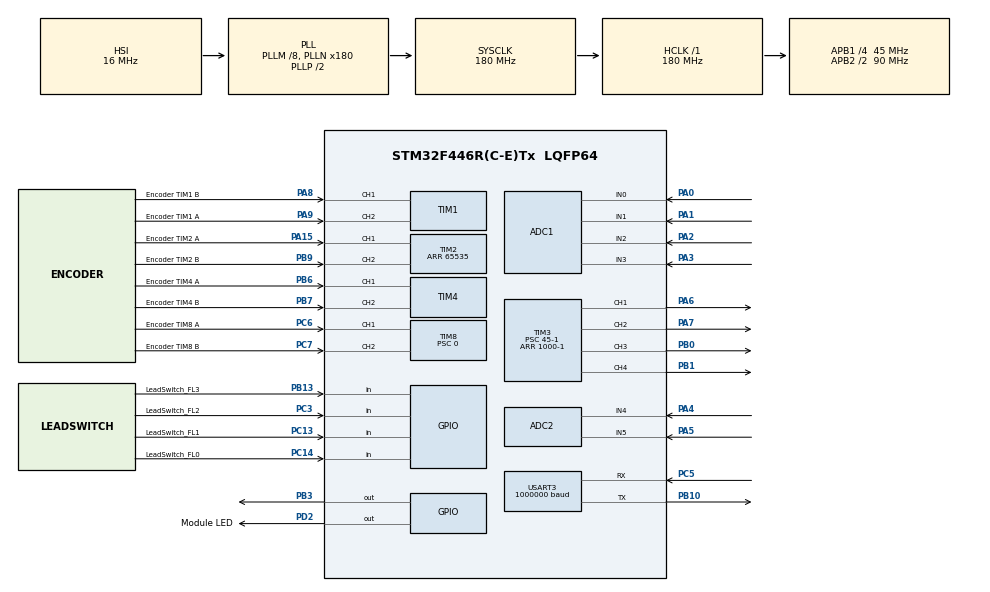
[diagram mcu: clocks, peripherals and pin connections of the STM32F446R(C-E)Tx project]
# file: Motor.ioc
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ADC1.Channel-17\#ChannelRegularConversion=ADC_CHANNEL_2
ADC1.Channel-18\#ChannelRegularConversion=ADC_CHANNEL_3
ADC1.Channel-19\#ChannelRegularConversion=ADC_CHANNEL_0
ADC1.Channel-20\#ChannelRegularConversion=ADC_CHANNEL_0
ADC1.ContinuousConvMode=ENABLE
ADC1.DMAContinuousRequests=ENABLE
ADC1.NbrOfConversion=4
ADC1.NbrOfConversionFlag=1
ADC1.Rank-17\#ChannelRegularConversion=1
ADC1.Rank-18\#ChannelRegularConversion=2
ADC1.Rank-19\#ChannelRegularConversion=3
ADC1.Rank-20\#ChannelRegularConversion=4
ADC1.SamplingTime-17\#ChannelRegularConversion=ADC_SAMPLETIME_144CYCLES
ADC1.SamplingTime-18\#ChannelRegularConversion=ADC_SAMPLETIME_144CYCLES
ADC1.SamplingTime-19\#ChannelRegularConversion=ADC_SAMPLETIME_3CYCLES
ADC1.SamplingTime-20\#ChannelRegularConversion=ADC_SAMPLETIME_3CYCLES
ADC1.ScanConvMode=ENABLE
ADC1.master=1
ADC2.Channel-6\#ChannelRegularConversion=ADC_CHANNEL_4
ADC2.NbrOfConversionFlag=1
ADC2.Rank-6\#ChannelRegularConversion=1
ADC2.SamplingTime-6\#ChannelRegularConversion=ADC_SAMPLETIME_3CYCLES
Dma.ADC1.0.Direction=DMA_PERIPH_TO_MEMORY
Dma.ADC1.0.FIFOMode=DMA_FIFOMODE_DISABLE
Dma.ADC1.0.Instance=DMA2_Stream0
Dma.ADC1.0.MemDataAlignment=DMA_MDATAALIGN_WORD
Dma.ADC1.0.MemInc=DMA_MINC_ENABLE
Dma.ADC1.0.Mode=DMA_CIRCULAR
Dma.ADC1.0.PeriphDataAlignment=DMA_PDATAALIGN_WORD
Dma.ADC1.0.PeriphInc=DMA_PINC_DISABLE
Dma.ADC1.0.Priority=DMA_PRIORITY_LOW
Dma.Request0=ADC1
Dma.Request1=USART3_RX
Dma.USART3_RX.1.Direction=DMA_PERIPH_TO_MEMORY
Dma.USART3_RX.1.FIFOMode=DMA_FIFOMODE_DISABLE
Dma.USART3_RX.1.Instance=DMA1_Stream1
Dma.USART3_RX.1.MemDataAlignment=DMA_MDATAALIGN_BYTE
Dma.USART3_RX.1.MemInc=DMA_MINC_ENABLE
Dma.USART3_RX.1.Mode=DMA_CIRCULAR
Dma.USART3_RX.1.PeriphDataAlignment=DMA_PDATAALIGN_BYTE
Dma.USART3_RX.1.PeriphInc=DMA_PINC_DISABLE
Dma.USART3_RX.1.Priority=DMA_PRIORITY_LOW
Mcu.Family=STM32F4
Mcu.Name=STM32F446R(C-E)Tx
Mcu.Package=LQFP64
NVIC.DMA1_Stream1_IRQn=true\:0\:0\:false\:false\:true\:false\:true
NVIC.DMA2_Stream0_IRQn=true\:0\:0\:false\:false\:true\:false\:true
NVIC.PriorityGroup=NVIC_PRIORITYGROUP_4
NVIC.TIM6_DAC_IRQn=true\:0\:0\:false\:false\:true\:true\:true
NVIC.TIM7_IRQn=true\:0\:0\:false\:false\:true\:true\:true
NVIC.TIM8_UP_TIM13_IRQn=true\:0\:0\:false\:false\:true\:true\:true
NVIC.USART3_IRQn=true\:0\:0\:false\:false\:true\:true\:true
PA0-WKUP.Signal=ADCx_IN0
PA1.Signal=ADCx_IN1
PA13.Mode=Serial_Wire
PA13.Signal=SYS_JTMS-SWDIO
PA14.Mode=Serial_Wire
PA14.Signal=SYS_JTCK-SWCLK
PA15.GPIO_Label=Encoder TIM2 A
PA15.GPIO_PuPd=GPIO_PULLUP
PA15.Signal=S_TIM2_CH1_ETR
PA2.Signal=ADCx_IN2
PA3.Signal=ADCx_IN3
PA4.Signal=ADCx_IN4
PA5.Signal=ADCx_IN5
PA6.Signal=S_TIM3_CH1
PA7.Signal=S_TIM3_CH2
PA8.GPIO_Label=Encoder TIM1 B
PA8.GPIO_PuPd=GPIO_PULLUP
PA8.Signal=S_TIM1_CH1
PA9.GPIO_Label=Encoder TIM1 A
PA9.GPIO_PuPd=GPIO_PULLUP
PA9.Signal=S_TIM1_CH2
PB0.Signal=S_TIM3_CH3
PB1.Signal=S_TIM3_CH4
PB10.Mode=Asynchronous
PB10.Signal=USART3_TX
PB13.GPIO_Label=LeadSwitch_FL3
PB13.Signal=GPIO_Input
PB3.PinState=GPIO_PIN_RESET
PB3.Signal=GPIO_Output
PB6.GPIO_Label=Encoder TIM4 A
PB6.GPIO_PuPd=GPIO_PULLUP
PB6.Signal=S_TIM4_CH1
PB7.GPIO_Label=Encoder TIM4 B
PB7.GPIO_PuPd=GPIO_PULLUP
PB7.Signal=S_TIM4_CH2
PB9.GPIO_Label=Encoder TIM2 B
PB9.GPIO_PuPd=GPIO_PULLUP
PB9.Signal=S_TIM2_CH2
PC13.GPIO_Label=LeadSwitch_FL1
PC13.Signal=GPIO_Input
PC14-OSC32_IN.GPIO_Label=LeadSwitch_FL0
PC14-OSC32_IN.Signal=GPIO_Input
PC3.GPIO_Label=LeadSwitch_FL2
PC3.Signal=GPIO_Input
PC5.Mode=Asynchronous
PC5.Signal=USART3_RX
PC6.GPIO_Label=Encoder TIM8 A
PC6.GPIO_PuPd=GPIO_PULLUP
PC6.Signal=S_TIM8_CH1
PC7.GPIO_Label=Encoder TIM8 B
PC7.GPIO_PuPd=GPIO_PULLUP
PC7.Signal=S_TIM8_CH2
PD2.GPIO_Label=Module LED
PD2.Signal=GPIO_Output
ProjectManager.HeapSize=0x200
ProjectManager.StackSize=0x400
ProjectManager.TargetToolchain=STM32CubeIDE
RCC.AHBFreq_Value=180000000
RCC.APB1CLKDivider=RCC_HCLK_DIV4
RCC.APB1Freq_Value=45000000
RCC.APB1TimFreq_Value=90000000
RCC.APB2CLKDivider=RCC_HCLK_DIV2
RCC.APB2Freq_Value=90000000
RCC.APB2TimFreq_Value=180000000
RCC.CortexFreq_Value=180000000
RCC.HCLKFreq_Value=180000000
RCC.HSE_VALUE=16000000
RCC.PLLM=8
RCC.PLLN=180
RCC.SYSCLKFreq_VALUE=180000000
RCC.SYSCLKSource=RCC_SYSCLKSOURCE_PLLCLK
RCC.USBFreq_Value=180000000
RCC.VCOOutputFreq_Value=360000000
SH.ADCx_IN0.0=ADC1_IN0,IN0
SH.ADCx_IN1.0=ADC1_IN1,IN1
SH.ADCx_IN2.0=ADC1_IN2,IN2
SH.ADCx_IN3.0=ADC1_IN3,IN3
SH.ADCx_IN4.0=ADC2_IN4,IN4
SH.ADCx_IN5.0=ADC2_IN5,IN5
SH.S_TIM1_CH1.0=TIM1_CH1,Encoder_Interface
SH.S_TIM1_CH2.0=TIM1_CH2,Encoder_Interface
SH.S_TIM2_CH1_ETR.0=TIM2_CH1,Encoder_Interface
SH.S_TIM2_CH2.0=TIM2_CH2,Encoder_Interface
SH.S_TIM3_CH1.0=TIM3_CH1,PWM Generation1 CH1
SH.S_TIM3_CH2.0=TIM3_CH2,PWM Generation2 CH2
SH.S_TIM3_CH3.0=TIM3_CH3,PWM Generation3 CH3
SH.S_TIM3_CH4.0=TIM3_CH4,PWM Generation4 CH4
SH.S_TIM4_CH1.0=TIM4_CH1,Encoder_Interface
SH.S_TIM4_CH2.0=TIM4_CH2,Encoder_Interface
SH.S_TIM8_CH1.0=TIM8_CH1,Encoder_Interface
SH.S_TIM8_CH2.0=TIM8_CH2,Encoder_Interface
TIM1.EncoderMode=TIM_ENCODERMODE_TI12
TIM1.IC1Filter=5
TIM1.IC2Filter=5
TIM2.EncoderMode=TIM_ENCODERMODE_TI12
TIM2.IC1Filter=5
TIM2.IC2Filter=5
TIM2.Period=65535
TIM3.Channel-PWM\ Generation1\ CH1=TIM_CHANNEL_1
TIM3.Channel-PWM\ Generation2\ CH2=TIM_CHANNEL_2
TIM3.Channel-PWM\ Generation3\ CH3=TIM_CHANNEL_3
TIM3.Channel-PWM\ Generation4\ CH4=TIM_CHANNEL_4
TIM3.CounterMode=TIM_COUNTERMODE_CENTERALIGNED1
TIM3.Period=1000-1
TIM3.Prescaler=45-1
TIM6.Period=10000-1
TIM6.Prescaler=45-1
TIM7.Period=10000-1
TIM7.Prescaler=90-1
TIM8.EncoderMode=TIM_ENCODERMODE_TI12
TIM8.IC1Filter=5
TIM8.IC2Filter=5
TIM8.Period=65535
TIM8.Prescaler=0
TIM8.TIM_MasterOutputTrigger=TIM_TRGO_RESET
USART3.BaudRate=1000000
USART3.VirtualMode=VM_ASYNC
VP_TIM6_VS_ClockSourceINT.Mode=Enable_Timer
VP_TIM7_VS_ClockSourceINT.Mode=Enable_Timer
board=custom

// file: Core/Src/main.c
/* USER CODE BEGIN Header */
/**
  ******************************************************************************
  * @file           : main.c
  * @brief          : Main program body
  ******************************************************************************
  * @attention
  *
  * <h2><center>&copy; Copyright (c) 2021 STMicroelectronics.
  * All rights reserved.</center></h2>
  *
  * This software component is licensed by ST under BSD 3-Clause license,
  * the "License"; You may not use this file except in compliance with the
  * License. You may obtain a copy of the License at:
  *                        opensource.org/licenses/BSD-3-Clause
  *
  ******************************************************************************
  */
/* USER CODE END Header */
#include "main.h"
#include "adc.h"
#include "dma.h"
#include "tim.h"
#include "usart.h"
#include "gpio.h"

/* USER CODE BEGIN Includes */
#include "PID_form.h"
#include "HalFlash.h"
#include "../../ScueDK/scuedk_embedded/slave/inc/serial_line.h"
#include "../../ScueDK/structs/structs.h"

//#include "HALFlash.h"
/* USER CODE END Includes */

/* USER CODE BEGIN PD */
#define RPM_FILTER_SIZE 10
#define FL_FLASH_SIZE 20 // pidPos 6 pidVel 6 pidCur 6 MaxRPM 1 MaxTorque 1
#define RX_BUFFER_SIZE 300

/* USER CODE END PD */

/* USER CODE BEGIN PM */

enum{
	MODE_PWM, MODE_MOTOR_INIT, MODE_PID, MODE_FLASH
};

/* USER CODE END PM */

/* USER CODE BEGIN PV */
/* COMM */
uint8_t rxBuffer[RX_BUFFER_SIZE];
SerialLine serialLine;
TrackController tc;
FlipperController fc;
/* MODE */
int MODE=0;

/* cnt */
int tim6_cnt=0;
int tim7_cnt=0;
int adc_cnt=0;

int enc=0;
int enc1=0;
int enc2=0;

unsigned int adc_buffer[2];
unsigned int current_buffer[2];

//test
float Target;
float Target_Pos_FL;

float rpm_temp[RPM_FILTER_SIZE]={0,};
int rpm_filter_cnt=0;

int test=0;

/* PWM */
int FL_Duty[4] = {500,};

/* Flipper */
PID pidVel_FL0;	//LEFT
PID pidVel_FL1;	//RIGHT
PID pidVel_FL2;	//LEFT
PID pidVel_FL3;	//RIGHT

PID pidPos_FL0;	//LEFT
PID pidPos_FL1;	//RIGHT
PID pidPos_FL2;	//LEFT
PID pidPos_FL3;	//RIGHT

PID pidCur_FL0;	//LEFT
PID pidCur_FL1;	//RIGHT
PID pidCur_FL2;	//LEFT
PID pidCur_FL3;	//RIGHT

MOTOR motor_FL0;
MOTOR motor_FL1;
MOTOR motor_FL2;
MOTOR motor_FL3;

pidDebug debug_FL0;
pidDebug debug_FL1;

/* Base */
PID pidVel_BASE_L;
PID pidVel_BASE_R;
MOTOR motor_BASE_L;
MOTOR motor_BASE_R;

pidDebug debug_BASE;

/* Lead Switch */
int LS_FL[4]={0,};

/* Flash */
int Flash_Flag=0;

int Flash_Read_Data_FL0[FL_FLASH_SIZE]={0,};
int Flash_Read_Data_FL1[FL_FLASH_SIZE]={0,};
int Flash_Read_Data_FL2[FL_FLASH_SIZE]={0,};
int Flash_Read_Data_FL3[FL_FLASH_SIZE]={0,};

int Flash_Write_Data_FL0[FL_FLASH_SIZE]={0,};
int Flash_Write_Data_FL1[FL_FLASH_SIZE]={0,};
int Flash_Write_Data_FL2[FL_FLASH_SIZE]={0,};
int Flash_Write_Data_FL3[FL_FLASH_SIZE]={0,};

/* USER CODE END PV */

void SystemClock_Config(void);

/* USER CODE BEGIN 0 */

void motorInit();

void pidInit();

void setDuty(MOTOR* motor, float Target_Duty);

void setRPM(MOTOR* motor, float Target_RPM);

void RPM_filter(float rpm);

void getLeadSwitch();

void Read_FlashData();
void Set_FlashData();
void Write_FlashData();

/* USER CODE END 0 */

int main(void)
{

  /* MCU Configuration--------------------------------------------------------*/

  /* Reset of all peripherals, Initializes the Flash interface and the Systick. */
  HAL_Init();

  /* USER CODE BEGIN Init */
  //initSerialLine(&serialLine, 1, (uint8_t*)&fc, sizeof(fc), USART3);
  initSerialLine(&serialLine, 2, (uint8_t*)&tc, sizeof(tc), USART3);

  /* USER CODE END Init */

  /* Configure the system clock */
  SystemClock_Config();

  /* Initialize all configured peripherals */
  MX_GPIO_Init();
  MX_TIM1_Init();
  MX_TIM2_Init();
  MX_TIM3_Init();
  MX_TIM4_Init();
  MX_TIM6_Init();
  MX_DMA_Init();
  MX_TIM8_Init();
  MX_USART3_UART_Init();
  MX_ADC1_Init();
  MX_ADC2_Init();
  MX_TIM7_Init();
  /* USER CODE BEGIN 2 */
  LL_DMA_SetMemoryAddress(DMA1, LL_DMA_STREAM_1, rxBuffer);
  LL_DMA_SetPeriphAddress(DMA1, LL_DMA_STREAM_1, &USART3->DR);
  LL_DMA_SetDataLength(DMA1, LL_DMA_STREAM_1, RX_BUFFER_SIZE);
  LL_DMA_EnableStream(DMA1, LL_DMA_STREAM_1);
  LL_USART_EnableDMAReq_RX(USART3);
  LL_USART_EnableIT_IDLE(USART3);

  HAL_TIM_Base_Start_IT(&htim6);
  HAL_TIM_Base_Start_IT(&htim7); //1ms

//  HAL_ADCEx_Calibration_Start(&hadc1, 10);
  HAL_ADC_Start_DMA(&hadc2, (uint32_t *)current_buffer, 2);
  HAL_ADC_Start_DMA(&hadc1, (uint32_t *)adc_buffer, 2);

//  HAL_ADCEx_Calibration_Start(&hadc2, 10);
//  HAL_ADC_Start_DMA(&hadc2, (uint32_t *)current_buffer, 2);

  //Flipper0 --> Flipper Back
  HAL_TIM_PWM_Start(&htim3, TIM_CHANNEL_2);			//PA7
  HAL_TIM_Encoder_Start(&htim2, TIM_CHANNEL_ALL);	//PA15 PB9

  //Flipper1
  HAL_TIM_PWM_Start(&htim3, TIM_CHANNEL_1);			//PA6
  HAL_TIM_Encoder_Start(&htim1, TIM_CHANNEL_ALL);	//PA8 PA9

  //Flipper2
  HAL_TIM_PWM_Start(&htim3, TIM_CHANNEL_3);			//PB0
  HAL_TIM_Encoder_Start(&htim4, TIM_CHANNEL_ALL);	//PB6 PB7

  //Flipper4
  HAL_TIM_PWM_Start(&htim3, TIM_CHANNEL_4);			//PB1
  HAL_TIM_Encoder_Start(&htim8, TIM_CHANNEL_ALL);	//PC6 PC7

//  HAL_TIM_Base_Start_IT(&htim4);

  motorInit();
  pidInit();

  TIM3->CCR1 = 500;
  TIM3->CCR2 = 500;
  TIM3->CCR3 = 500;
  TIM3->CCR4 = 500;

  /* USER CODE END 2 */

  /* Infinite loop */
  while (1)
  {

  }
}

void SystemClock_Config(void)
{
  RCC_OscInitTypeDef RCC_OscInitStruct = {0};
  RCC_ClkInitTypeDef RCC_ClkInitStruct = {0};

  /** Configure the main internal regulator output voltage
  */
  __HAL_RCC_PWR_CLK_ENABLE();
  __HAL_PWR_VOLTAGESCALING_CONFIG(PWR_REGULATOR_VOLTAGE_SCALE1);
  /** Initializes the RCC Oscillators according to the specified parameters
  * in the RCC_OscInitTypeDef structure.
  */
  RCC_OscInitStruct.OscillatorType = RCC_OSCILLATORTYPE_HSI;
  RCC_OscInitStruct.HSIState = RCC_HSI_ON;
  RCC_OscInitStruct.HSICalibrationValue = RCC_HSICALIBRATION_DEFAULT;
  RCC_OscInitStruct.PLL.PLLState = RCC_PLL_ON;
  RCC_OscInitStruct.PLL.PLLSource = RCC_PLLSOURCE_HSI;
  RCC_OscInitStruct.PLL.PLLM = 8;
  RCC_OscInitStruct.PLL.PLLN = 180;
  RCC_OscInitStruct.PLL.PLLP = RCC_PLLP_DIV2;
  RCC_OscInitStruct.PLL.PLLQ = 2;
  RCC_OscInitStruct.PLL.PLLR = 2;
  if (HAL_RCC_OscConfig(&RCC_OscInitStruct) != HAL_OK)
  {
    Error_Handler();
  }
  /** Activate the Over-Drive mode
  */
  if (HAL_PWREx_EnableOverDrive() != HAL_OK)
  {
    Error_Handler();
  }
  /** Initializes the CPU, AHB and APB buses clocks
  */
  RCC_ClkInitStruct.ClockType = RCC_CLOCKTYPE_HCLK|RCC_CLOCKTYPE_SYSCLK
                              |RCC_CLOCKTYPE_PCLK1|RCC_CLOCKTYPE_PCLK2;
  RCC_ClkInitStruct.SYSCLKSource = RCC_SYSCLKSOURCE_PLLCLK;
  RCC_ClkInitStruct.AHBCLKDivider = RCC_SYSCLK_DIV1;
  RCC_ClkInitStruct.APB1CLKDivider = RCC_HCLK_DIV4;
  RCC_ClkInitStruct.APB2CLKDivider = RCC_HCLK_DIV2;

  if (HAL_RCC_ClockConfig(&RCC_ClkInitStruct, FLASH_LATENCY_5) != HAL_OK)
  {
    Error_Handler();
  }
}

/* USER CODE BEGIN 4 */

void HAL_TIM_PeriodElapsedCallback(TIM_HandleTypeDef *htim) {

	if (htim->Instance == TIM6)    //1ms
	{
		tim6_cnt++;

//		TIM4->CCR1 = Target;
//		TIM4->CCR2 = duty2;
//		TIM4->CCR3 = duty3;

//		Get_Motor_RPM(&motor_FL0, TIM1);

//		setRPM(&motor_BASE_R, Target);
//		Get_Motor_RPM_BASE(&motor_BASE_R, TIM3);
//		PID_Control(&pidVel_BASE_R, motor_BASE_R.TargetRPM, motor_BASE_R.RPM);
//		setDuty(&motor_BASE_R, pidVel_BASE_R.nowOutput);

		switch(MODE)
		{
		case MODE_PWM:
		{
			TIM3->CCR1 = FL_Duty[0];
			TIM3->CCR2 = FL_Duty[1];
			TIM3->CCR3 = FL_Duty[2];
			TIM3->CCR4 = FL_Duty[3];

			break;
		}
		case MODE_MOTOR_INIT:
		{
			TIM3->CCR1 = 500;
			TIM3->CCR2 = 500;
			TIM3->CCR3 = 500;
			TIM3->CCR4 = 500;

			MotorData_Init(&motor_FL0, TIM2);
			MotorData_Init(&motor_FL1, TIM1);
			MotorData_Init(&motor_FL2, TIM4);
			MotorData_Init(&motor_FL3, TIM8);

			break;
		}
		case MODE_PID:
		{

			break;
		}
		case MODE_FLASH:
		{
			if(Flash_Flag == 1)
			{
				Set_FlashData();
				Write_FlashData();
				Flash_Flag = 0;
			}
			else if(Flash_Flag == 2)
			{
				Read_FlashData();
			}
			break;
		}
		}

		if(test==0)
		{
			Get_Motor_RPM(&motor_FL2, TIM2);
			RPM_filter(motor_FL2.RPM);
			PID_Control(&pidVel_FL2, pidPos_FL2.nowOutput, motor_FL2.realRPM);
			setDuty(&motor_FL2, pidVel_FL2.nowOutput);
		}

		else if(test == 1)
		{

			Get_Motor_RPM(&motor_FL2, TIM2);
		}

	}

	if (htim->Instance == TIM7)    //10ms
	{
		tim7_cnt++;
		if(test==0)
		{
			PID_Control_FL(&pidPos_FL2, Target_Pos_FL, motor_FL2.Degree);
		}

	}
}

void HAL_ADC_ConvCpltCallback(ADC_HandleTypeDef* hadc)
{
//	if(hadc->Instance == hadc1.Instance)
//	{
//		cnt_adc1++;
//	}

//	if(hadc->Instance == hadc2.Instance)
//	{
////		HAL_ADC_Start_DMA(&hadc2, (uint32_t *)current_buffer, 2);
//		cnt_adc2++;
//	}
}

//-----------------------------------------------------------------------------------------------------------

void motorInit(){
	motor_FL0.MotorNum = 0;
	motor_FL1.MotorNum = 1;
	motor_FL2.MotorNum = 2;
	motor_FL3.MotorNum = 3;

	motor_BASE_L.MotorNum = 4;
	motor_BASE_R.MotorNum = 5;
	motor_BASE_R.maxRPM = 50;

}

void pidInit(){
	pidVel_BASE_R.underOfPoint=200;
	pidVel_BASE_R.outputLimit=200;
	pidVel_BASE_R.errorSumLimit=1000;
	pidVel_BASE_R.kP=10000;
	pidVel_BASE_R.kI=10;
	pidVel_BASE_R.kD=0;

	pidVel_BASE_L.underOfPoint=200;
	pidVel_BASE_L.outputLimit=200;
	pidVel_BASE_L.errorSumLimit=1000;
	pidVel_BASE_L.kP=10000;
	pidVel_BASE_L.kI=10;
	pidVel_BASE_L.kD=0;

	pidVel_FL2.underOfPoint=100;
	pidVel_FL2.outputLimit=200;
	pidVel_FL2.errorSumLimit=3000;
	pidVel_FL2.kP=200;
	pidVel_FL2.kI=10;
	pidVel_FL2.kD=0;

	pidPos_FL2.underOfPoint=10000;
	pidPos_FL2.outputLimit=20;
	pidPos_FL2.errorSumLimit=5000;
	pidPos_FL2.kP=-2000;
	pidPos_FL2.kI=-3;
	pidPos_FL2.kD=0;
}

void setDuty(MOTOR* motor, float Target_Duty){

	switch(motor->MotorNum){
	case 0:
	{
		TIM4->CCR1 = Target_Duty;
		break;
	}
	case 1:
	{
		TIM4->CCR1 = Target_Duty;
		break;
	}
	case 2:
	{
		Target_Duty *= -1;
		Target_Duty += 500;
		TIM4->CCR3 = Target_Duty;
		break;
	}
	case 3:
	{
		TIM4->CCR1 = Target_Duty;
		break;
	}
	case 4:
	{
		TIM4->CCR1 = Target_Duty;
		break;
	}
	case 5:
	{
		Target_Duty *= -1;
		Target_Duty += 500;
		TIM4->CCR1 = Target_Duty;
		break;
	}
	}
}

void setRPM(MOTOR* motor, float Target_RPM){
	motor->TargetRPM = Target_RPM;
}

void RPM_filter(float rpm){

	float sum=0;

	rpm_temp[rpm_filter_cnt] = rpm;
	rpm_filter_cnt++;

	if(rpm_filter_cnt == RPM_FILTER_SIZE)
	{
		for(int i=0;i<10;i++)
		{
			sum += rpm_temp[i];
		}
		motor_FL2.realRPM = sum/RPM_FILTER_SIZE;
		rpm_filter_cnt=0;
	}
}

void getLeadSwitch(){
	LS_FL[0] = HAL_GPIO_ReadPin(LeadSwitch_FL0_GPIO_Port, LeadSwitch_FL0_Pin);
	LS_FL[1] = HAL_GPIO_ReadPin(LeadSwitch_FL1_GPIO_Port, LeadSwitch_FL1_Pin);
	LS_FL[2] = HAL_GPIO_ReadPin(LeadSwitch_FL2_GPIO_Port, LeadSwitch_FL2_Pin);
	LS_FL[3] = HAL_GPIO_ReadPin(LeadSwitch_FL3_GPIO_Port, LeadSwitch_FL3_Pin);
}

void Read_FlashData()
{
  int ByteCnt=0;
  for(int i=0;i<FL_FLASH_SIZE;i++)
  {
	  Flash_Read_Data_FL0[i] = Flash_Read(Init_Add + ByteCnt);
	  ByteCnt += 4;
  }

  for(int i=0;i<FL_FLASH_SIZE;i++)
  {
	  Flash_Read_Data_FL1[i] = Flash_Read(Init_Add + ByteCnt);
	  ByteCnt += 4;
  }

  for(int i=0;i<FL_FLASH_SIZE;i++)
  {
	  Flash_Read_Data_FL2[i] = Flash_Read(Init_Add + ByteCnt);
	  ByteCnt += 4;
  }

  for(int i=0;i<FL_FLASH_SIZE;i++)
  {
	  Flash_Read_Data_FL3[i] = Flash_Read(Init_Add + ByteCnt);
	  ByteCnt += 4;
  }
}

void Set_FlashData()
{
  Flash_Write_Data_FL0[0] = pidPos_FL0.kP* (-1);
  Flash_Write_Data_FL0[1] = pidPos_FL0.kI* (-1);
  Flash_Write_Data_FL0[2] = pidPos_FL0.kD* (-1);
  Flash_Write_Data_FL0[3] = pidPos_FL0.errorSumLimit;
  Flash_Write_Data_FL0[4] = pidPos_FL0.outputLimit;
  Flash_Write_Data_FL0[5] = pidPos_FL0.underOfPoint;

  Flash_Write_Data_FL0[6] = pidVel_FL0.kP;
  Flash_Write_Data_FL0[7] = pidVel_FL0.kI;
  Flash_Write_Data_FL0[8] = pidVel_FL0.kD;
  Flash_Write_Data_FL0[9] = pidVel_FL0.errorSumLimit;
  Flash_Write_Data_FL0[10] = pidVel_FL0.outputLimit;
  Flash_Write_Data_FL0[11] = pidVel_FL0.underOfPoint;

  Flash_Write_Data_FL0[12] = pidCur_FL0.kP;
  Flash_Write_Data_FL0[13] = pidCur_FL0.kI;
  Flash_Write_Data_FL0[14] = pidCur_FL0.kD;
  Flash_Write_Data_FL0[15] = pidCur_FL0.errorSumLimit;
  Flash_Write_Data_FL0[16] = pidCur_FL0.outputLimit;
  Flash_Write_Data_FL0[17] = pidCur_FL0.underOfPoint;

  Flash_Write_Data_FL0[18] = pidPos_FL0.outputLimit;	//maxRPM
  Flash_Write_Data_FL0[19] = pidVel_FL0.outputLimit;	//maxCUR

//-------------------------------------------------------------------
  Flash_Write_Data_FL1[0] = pidPos_FL1.kP* (-1);
  Flash_Write_Data_FL1[1] = pidPos_FL1.kI* (-1);
  Flash_Write_Data_FL1[2] = pidPos_FL1.kD* (-1);
  Flash_Write_Data_FL1[3] = pidPos_FL1.errorSumLimit;
  Flash_Write_Data_FL1[4] = pidPos_FL1.outputLimit;
  Flash_Write_Data_FL1[5] = pidPos_FL1.underOfPoint;

  Flash_Write_Data_FL1[6] = pidVel_FL1.kP;
  Flash_Write_Data_FL1[7] = pidVel_FL1.kI;
  Flash_Write_Data_FL1[8] = pidVel_FL1.kD;
  Flash_Write_Data_FL1[9] = pidVel_FL1.errorSumLimit;
  Flash_Write_Data_FL1[10] = pidVel_FL1.outputLimit;
  Flash_Write_Data_FL1[11] = pidVel_FL1.underOfPoint;

  Flash_Write_Data_FL1[12] = pidCur_FL1.kP;
  Flash_Write_Data_FL1[13] = pidCur_FL1.kI;
  Flash_Write_Data_FL1[14] = pidCur_FL1.kD;
  Flash_Write_Data_FL1[15] = pidCur_FL1.errorSumLimit;
  Flash_Write_Data_FL1[16] = pidCur_FL1.outputLimit;
  Flash_Write_Data_FL1[17] = pidCur_FL1.underOfPoint;

  Flash_Write_Data_FL1[18] = pidPos_FL1.outputLimit;	//maxRPM
  Flash_Write_Data_FL1[19] = pidVel_FL1.outputLimit;	//maxCUR

  //-------------------------------------------------------------------
  Flash_Write_Data_FL2[0] = pidPos_FL2.kP* (-1);
  Flash_Write_Data_FL2[1] = pidPos_FL2.kI* (-1);
  Flash_Write_Data_FL2[2] = pidPos_FL2.kD* (-1);
  Flash_Write_Data_FL2[3] = pidPos_FL2.errorSumLimit;
  Flash_Write_Data_FL2[4] = pidPos_FL2.outputLimit;
  Flash_Write_Data_FL2[5] = pidPos_FL2.underOfPoint;

  Flash_Write_Data_FL2[6] = pidVel_FL2.kP;
  Flash_Write_Data_FL2[7] = pidVel_FL2.kI;
  Flash_Write_Data_FL2[8] = pidVel_FL2.kD;
  Flash_Write_Data_FL2[9] = pidVel_FL2.errorSumLimit;
  Flash_Write_Data_FL2[10] = pidVel_FL2.outputLimit;
  Flash_Write_Data_FL2[11] = pidVel_FL2.underOfPoint;

  Flash_Write_Data_FL2[12] = pidCur_FL2.kP;
  Flash_Write_Data_FL2[13] = pidCur_FL2.kI;
  Flash_Write_Data_FL2[14] = pidCur_FL2.kD;
  Flash_Write_Data_FL2[15] = pidCur_FL2.errorSumLimit;
  Flash_Write_Data_FL2[16] = pidCur_FL2.outputLimit;
  Flash_Write_Data_FL2[17] = pidCur_FL2.underOfPoint;

  Flash_Write_Data_FL2[18] = pidPos_FL2.outputLimit;	//maxRPM
  Flash_Write_Data_FL2[19] = pidVel_FL2.outputLimit;	//maxCUR

  //-------------------------------------------------------------------
  Flash_Write_Data_FL3[0] = pidPos_FL3.kP* (-1);
  Flash_Write_Data_FL3[1] = pidPos_FL3.kI* (-1);
  Flash_Write_Data_FL3[2] = pidPos_FL3.kD* (-1);
  Flash_Write_Data_FL3[3] = pidPos_FL3.errorSumLimit;
  Flash_Write_Data_FL3[4] = pidPos_FL3.outputLimit;
  Flash_Write_Data_FL3[5] = pidPos_FL3.underOfPoint;

  Flash_Write_Data_FL3[6] = pidVel_FL3.kP;
  Flash_Write_Data_FL3[7] = pidVel_FL3.kI;
  Flash_Write_Data_FL3[8] = pidVel_FL3.kD;
  Flash_Write_Data_FL3[9] = pidVel_FL3.errorSumLimit;
  Flash_Write_Data_FL3[10] = pidVel_FL3.outputLimit;
  Flash_Write_Data_FL3[11] = pidVel_FL3.underOfPoint;

  Flash_Write_Data_FL3[12] = pidCur_FL3.kP;
  Flash_Write_Data_FL3[13] = pidCur_FL3.kI;
  Flash_Write_Data_FL3[14] = pidCur_FL3.kD;
  Flash_Write_Data_FL3[15] = pidCur_FL3.errorSumLimit;
  Flash_Write_Data_FL3[16] = pidCur_FL3.outputLimit;
  Flash_Write_Data_FL3[17] = pidCur_FL3.underOfPoint;

  Flash_Write_Data_FL3[18] = pidPos_FL3.outputLimit;	//maxRPM
  Flash_Write_Data_FL3[19] = pidVel_FL3.outputLimit;	//maxCUR

}

void Write_FlashData()
{
  int Check_Cnt=0;
  int Byte_Cnt=0;

  Flash_Erase(FLASH_SECTOR_5);

  for(int i=0;i<FL_FLASH_SIZE;i++)
  {
    Flash_Write(Init_Add + Byte_Cnt, Flash_Write_Data_FL0[i]);
    Byte_Cnt += 4;
    HAL_FLASH_Lock();
  }

  for(int i=0;i<FL_FLASH_SIZE;i++)
  {
	  Flash_Write(Init_Add + Byte_Cnt, Flash_Write_Data_FL1[i]);
	  Byte_Cnt += 4;
	  HAL_FLASH_Lock();
  }

  for(int i=0;i<FL_FLASH_SIZE;i++)
  {
	  Flash_Write(Init_Add + Byte_Cnt, Flash_Write_Data_FL2[i]);
	  Byte_Cnt += 4;
	  HAL_FLASH_Lock();
  }

  for(int i=0;i<FL_FLASH_SIZE;i++)
  {
	  Flash_Write(Init_Add + Byte_Cnt, Flash_Write_Data_FL3[i]);
	  Byte_Cnt += 4;
	  HAL_FLASH_Lock();
  }

}

void Init_FlashData(){
	pidPos_FL0.kP=Flash_Read_Data_FL0[0]* (-1);
	pidPos_FL0.kI=Flash_Read_Data_FL0[1]* (-1);
	pidPos_FL0.kD=Flash_Read_Data_FL0[2]* (-1);
	pidPos_FL0.errorSumLimit=Flash_Read_Data_FL0[3];
	pidPos_FL0.outputLimit=Flash_Read_Data_FL0[4];
	pidPos_FL0.underOfPoint=Flash_Read_Data_FL0[5];

	pidVel_FL0.kP=Flash_Read_Data_FL0[6];
	pidVel_FL0.kI=Flash_Read_Data_FL0[7];
	pidVel_FL0.kD=Flash_Read_Data_FL0[8];
	pidVel_FL0.errorSumLimit=Flash_Read_Data_FL0[9];
	pidVel_FL0.outputLimit=Flash_Read_Data_FL0[10];
	pidVel_FL0.underOfPoint=Flash_Read_Data_FL0[11];

	pidCur_FL0.kP=Flash_Read_Data_FL0[12];
	pidCur_FL0.kI=Flash_Read_Data_FL0[13];
	pidCur_FL0.kD=Flash_Read_Data_FL0[14];
	pidCur_FL0.errorSumLimit=Flash_Read_Data_FL0[15];
	pidCur_FL0.outputLimit=Flash_Read_Data_FL0[16];
	pidCur_FL0.underOfPoint=Flash_Read_Data_FL0[17];

	pidPos_FL0.outputLimit=Flash_Read_Data_FL0[18];		//maxRPM
	pidVel_FL0.outputLimit==Flash_Read_Data_FL0[19];	//maxCUR

//-------------------------------------------------------------------
	pidPos_FL1.kP=Flash_Read_Data_FL1[0]* (-1);
	pidPos_FL1.kI=Flash_Read_Data_FL1[1]* (-1);
	pidPos_FL1.kD=Flash_Read_Data_FL1[2]* (-1);
	pidPos_FL1.errorSumLimit=Flash_Read_Data_FL1[3];
	pidPos_FL1.outputLimit=Flash_Read_Data_FL1[4];
	pidPos_FL1.underOfPoint=Flash_Read_Data_FL1[5];

	pidVel_FL1.kP=Flash_Read_Data_FL1[6];
	pidVel_FL1.kI=Flash_Read_Data_FL1[7];
	pidVel_FL1.kD=Flash_Read_Data_FL1[8];
	pidVel_FL1.errorSumLimit=Flash_Read_Data_FL1[9];
	pidVel_FL1.outputLimit=Flash_Read_Data_FL1[10];
	pidVel_FL1.underOfPoint=Flash_Read_Data_FL1[11];

	pidCur_FL1.kP=Flash_Read_Data_FL1[12];
	pidCur_FL1.kI=Flash_Read_Data_FL1[13];
	pidCur_FL1.kD=Flash_Read_Data_FL1[14];
	pidCur_FL1.errorSumLimit=Flash_Read_Data_FL1[15];
	pidCur_FL1.outputLimit=Flash_Read_Data_FL1[16];
	pidCur_FL1.underOfPoint=Flash_Read_Data_FL1[17];

	pidPos_FL1.outputLimit=Flash_Read_Data_FL1[18];		//maxRPM
	pidVel_FL1.outputLimit==Flash_Read_Data_FL1[19];	//maxCUR

	//-------------------------------------------------------------------
	pidPos_FL2.kP=Flash_Read_Data_FL2[0]* (-1);
	pidPos_FL2.kI=Flash_Read_Data_FL2[1]* (-1);
	pidPos_FL2.kD=Flash_Read_Data_FL2[2]* (-1);
	pidPos_FL2.errorSumLimit=Flash_Read_Data_FL2[3];
	pidPos_FL2.outputLimit=Flash_Read_Data_FL2[4];
	pidPos_FL2.underOfPoint=Flash_Read_Data_FL2[5];

	pidVel_FL2.kP=Flash_Read_Data_FL2[6];
	pidVel_FL2.kI=Flash_Read_Data_FL2[7];
	pidVel_FL2.kD=Flash_Read_Data_FL2[8];
	pidVel_FL2.errorSumLimit=Flash_Read_Data_FL2[9];
	pidVel_FL2.outputLimit=Flash_Read_Data_FL2[10];
	pidVel_FL2.underOfPoint=Flash_Read_Data_FL2[11];

	pidCur_FL2.kP=Flash_Read_Data_FL2[12];
	pidCur_FL2.kI=Flash_Read_Data_FL2[13];
	pidCur_FL2.kD=Flash_Read_Data_FL2[14];
	pidCur_FL2.errorSumLimit=Flash_Read_Data_FL2[15];
	pidCur_FL2.outputLimit=Flash_Read_Data_FL2[16];
	pidCur_FL2.underOfPoint=Flash_Read_Data_FL2[17];

	pidPos_FL2.outputLimit=Flash_Read_Data_FL2[18];		//maxRPM
	pidVel_FL2.outputLimit==Flash_Read_Data_FL2[19];	//maxCUR

	//-------------------------------------------------------------------
	pidPos_FL3.kP=Flash_Read_Data_FL3[0]* (-1);
	pidPos_FL3.kI=Flash_Read_Data_FL3[1]* (-1);
	pidPos_FL3.kD=Flash_Read_Data_FL3[2]* (-1);
	pidPos_FL3.errorSumLimit=Flash_Read_Data_FL3[3];
	pidPos_FL3.outputLimit=Flash_Read_Data_FL3[4];
	pidPos_FL3.underOfPoint=Flash_Read_Data_FL3[5];

	pidVel_FL3.kP=Flash_Read_Data_FL3[6];
	pidVel_FL3.kI=Flash_Read_Data_FL3[7];
	pidVel_FL3.kD=Flash_Read_Data_FL3[8];
	pidVel_FL3.errorSumLimit=Flash_Read_Data_FL3[9];
	pidVel_FL3.outputLimit=Flash_Read_Data_FL3[10];
	pidVel_FL3.underOfPoint=Flash_Read_Data_FL3[11];

	pidCur_FL3.kP=Flash_Read_Data_FL3[12];
	pidCur_FL3.kI=Flash_Read_Data_FL3[13];
	pidCur_FL3.kD=Flash_Read_Data_FL3[14];
	pidCur_FL3.errorSumLimit=Flash_Read_Data_FL3[15];
	pidCur_FL3.outputLimit=Flash_Read_Data_FL3[16];
	pidCur_FL3.underOfPoint=Flash_Read_Data_FL3[17];

	pidPos_FL3.outputLimit=Flash_Read_Data_FL3[18];		//maxRPM
	pidVel_FL3.outputLimit==Flash_Read_Data_FL3[19];	//maxCUR

}
/* USER CODE END 4 */

void Error_Handler(void)
{
  __disable_irq();
  while (1)
  {
  }
}

/************************ (C) COPYRIGHT STMicroelectronics *****END OF FILE****/
